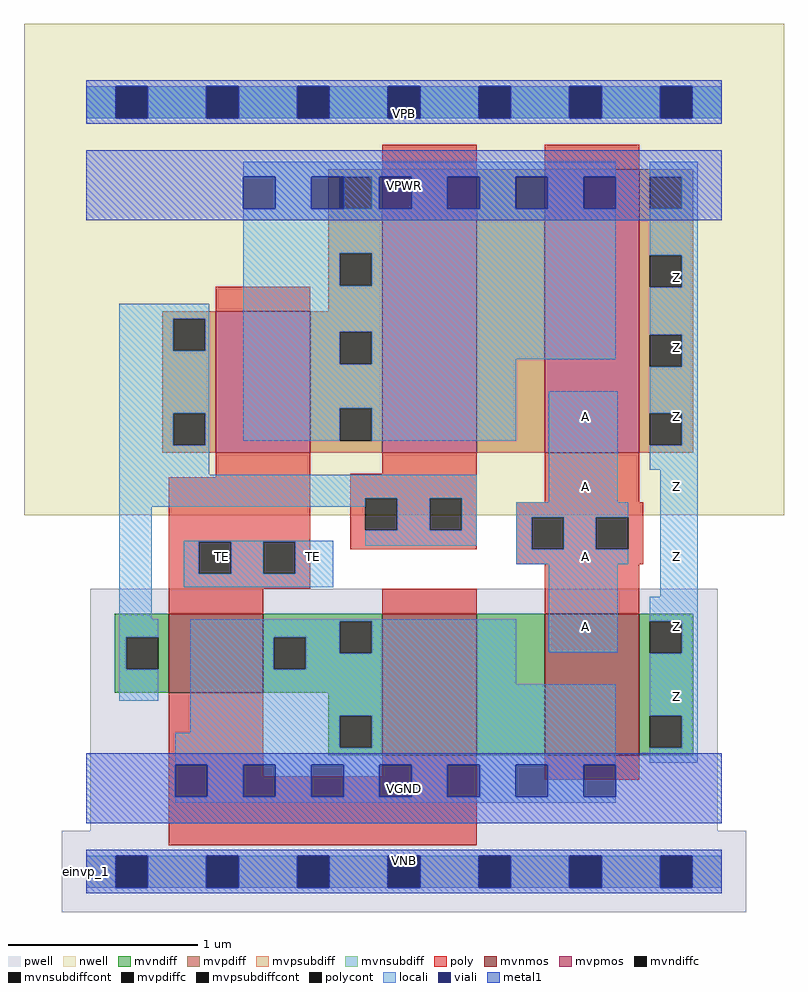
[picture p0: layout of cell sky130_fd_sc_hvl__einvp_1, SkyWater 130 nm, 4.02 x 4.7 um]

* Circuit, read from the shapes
.subckt sky130_fd_sc_hvl__einvp_1 A TE VGND VNB VPB VPWR Z
XM1 VGND TE n1 VNB sky130_fd_pr__nfet_g5v0d10v5 w=0.42 l=0.5
XM2 n2 TE VGND VNB sky130_fd_pr__nfet_g5v0d10v5 w=0.75 l=0.5
XM3 Z A n2 VNB sky130_fd_pr__nfet_g5v0d10v5 w=0.75 l=0.5
XM4 VPWR TE n1 VPB sky130_fd_pr__pfet_g5v0d10v5 w=0.75 l=0.5
XM5 n3 n1 VPWR VPB sky130_fd_pr__pfet_g5v0d10v5 w=1.5 l=0.5
XM6 Z A n3 VPB sky130_fd_pr__pfet_g5v0d10v5 w=1.5 l=0.5
.ends

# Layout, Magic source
magic
tech sky130A
magscale 1 2
<< nwell >>
rect -66 377 738 897
<< pwell >>
rect 4 43 668 299
rect -26 -43 698 43
<< mvnmos >>
rect 87 189 187 273
rect 313 123 413 273
rect 485 123 585 273
<< mvpmos >>
rect 137 443 237 593
rect 313 443 413 743
rect 485 443 585 743
<< mvndiff >>
rect 30 248 87 273
rect 30 214 42 248
rect 76 214 87 248
rect 30 189 87 214
rect 187 265 313 273
rect 187 248 268 265
rect 187 214 198 248
rect 232 231 268 248
rect 302 231 313 265
rect 232 214 313 231
rect 187 189 313 214
rect 256 165 313 189
rect 256 131 268 165
rect 302 131 313 165
rect 256 123 313 131
rect 413 123 485 273
rect 585 265 642 273
rect 585 231 596 265
rect 630 231 642 265
rect 585 165 642 231
rect 585 131 596 165
rect 630 131 642 165
rect 585 123 642 131
<< mvpdiff >>
rect 256 735 313 743
rect 256 701 268 735
rect 302 701 313 735
rect 256 654 313 701
rect 256 620 268 654
rect 302 620 313 654
rect 256 593 313 620
rect 80 585 137 593
rect 80 551 92 585
rect 126 551 137 585
rect 80 485 137 551
rect 80 451 92 485
rect 126 451 137 485
rect 80 443 137 451
rect 237 571 313 593
rect 237 537 268 571
rect 302 537 313 571
rect 237 490 313 537
rect 237 456 268 490
rect 302 456 313 490
rect 237 443 313 456
rect 413 443 485 743
rect 585 735 642 743
rect 585 701 596 735
rect 630 701 642 735
rect 585 652 642 701
rect 585 618 596 652
rect 630 618 642 652
rect 585 568 642 618
rect 585 534 596 568
rect 630 534 642 568
rect 585 485 642 534
rect 585 451 596 485
rect 630 451 642 485
rect 585 443 642 451
<< mvndiffc >>
rect 42 214 76 248
rect 198 214 232 248
rect 268 231 302 265
rect 268 131 302 165
rect 596 231 630 265
rect 596 131 630 165
<< mvpdiffc >>
rect 268 701 302 735
rect 268 620 302 654
rect 92 551 126 585
rect 92 451 126 485
rect 268 537 302 571
rect 268 456 302 490
rect 596 701 630 735
rect 596 618 630 652
rect 596 534 630 568
rect 596 451 630 485
<< mvpsubdiff >>
rect 0 -17 31 17
rect 65 -17 127 17
rect 161 -17 223 17
rect 257 -17 319 17
rect 353 -17 415 17
rect 449 -17 511 17
rect 545 -17 607 17
rect 641 -17 672 17
<< mvnsubdiff >>
rect 0 797 31 831
rect 65 797 127 831
rect 161 797 223 831
rect 257 797 319 831
rect 353 797 415 831
rect 449 797 511 831
rect 545 797 607 831
rect 641 797 672 831
<< mvpsubdiffcont >>
rect 31 -17 65 17
rect 127 -17 161 17
rect 223 -17 257 17
rect 319 -17 353 17
rect 415 -17 449 17
rect 511 -17 545 17
rect 607 -17 641 17
<< mvnsubdiffcont >>
rect 31 797 65 831
rect 127 797 161 831
rect 223 797 257 831
rect 319 797 353 831
rect 415 797 449 831
rect 511 797 545 831
rect 607 797 641 831
<< poly >>
rect 313 743 413 769
rect 485 743 585 769
rect 137 593 237 619
rect 137 417 237 443
rect 313 421 413 443
rect 87 349 237 417
rect 87 315 119 349
rect 153 315 187 349
rect 221 315 237 349
rect 279 395 413 421
rect 279 361 295 395
rect 329 361 363 395
rect 397 361 413 395
rect 485 391 585 443
rect 279 341 413 361
rect 455 375 589 391
rect 455 341 471 375
rect 505 341 539 375
rect 573 341 589 375
rect 455 325 589 341
rect 87 299 237 315
rect 87 273 187 299
rect 313 273 413 299
rect 485 273 585 325
rect 87 101 187 189
rect 313 101 413 123
rect 87 28 413 101
rect 485 97 585 123
<< polycont >>
rect 119 315 153 349
rect 187 315 221 349
rect 295 361 329 395
rect 363 361 397 395
rect 471 341 505 375
rect 539 341 573 375
<< locali >>
rect 0 797 31 831
rect 65 797 127 831
rect 161 797 223 831
rect 257 797 319 831
rect 353 797 415 831
rect 449 797 511 831
rect 545 797 607 831
rect 641 797 672 831
rect 166 735 560 751
rect 200 701 238 735
rect 302 701 310 735
rect 344 701 382 735
rect 416 701 454 735
rect 488 701 526 735
rect 166 654 560 701
rect 166 620 268 654
rect 302 620 560 654
rect 35 585 130 601
rect 35 551 92 585
rect 126 551 130 585
rect 35 485 130 551
rect 35 451 92 485
rect 126 451 130 485
rect 166 571 560 620
rect 166 537 268 571
rect 302 542 560 571
rect 596 735 647 751
rect 630 701 647 735
rect 596 652 647 701
rect 630 618 647 652
rect 596 568 647 618
rect 302 537 455 542
rect 166 490 455 537
rect 630 534 647 568
rect 166 456 268 490
rect 302 456 455 490
rect 35 420 130 451
rect 35 395 413 420
rect 35 386 295 395
rect 35 267 69 386
rect 329 361 363 395
rect 397 361 413 395
rect 489 391 562 508
rect 596 485 647 534
rect 630 451 647 485
rect 596 425 647 451
rect 103 349 261 350
rect 103 315 119 349
rect 153 315 187 349
rect 221 315 261 349
rect 295 345 413 361
rect 455 375 573 391
rect 455 341 471 375
rect 505 341 539 375
rect 455 325 573 341
rect 103 301 261 315
rect 35 248 76 267
rect 35 214 42 248
rect 35 181 76 214
rect 110 265 455 267
rect 110 248 268 265
rect 110 214 198 248
rect 232 231 268 248
rect 302 231 455 265
rect 489 232 562 325
rect 607 291 647 425
rect 596 265 647 291
rect 232 214 455 231
rect 110 198 455 214
rect 630 231 647 265
rect 110 165 560 198
rect 110 147 268 165
rect 94 131 268 147
rect 302 131 560 165
rect 94 113 560 131
rect 596 165 647 231
rect 630 131 647 165
rect 596 115 647 131
rect 128 79 166 113
rect 200 79 238 113
rect 272 79 310 113
rect 344 79 382 113
rect 416 79 454 113
rect 488 79 526 113
rect 94 73 560 79
rect 0 -17 31 17
rect 65 -17 127 17
rect 161 -17 223 17
rect 257 -17 319 17
rect 353 -17 415 17
rect 449 -17 511 17
rect 545 -17 607 17
rect 641 -17 672 17
<< viali >>
rect 31 797 65 831
rect 127 797 161 831
rect 223 797 257 831
rect 319 797 353 831
rect 415 797 449 831
rect 511 797 545 831
rect 607 797 641 831
rect 166 701 200 735
rect 238 701 268 735
rect 268 701 272 735
rect 310 701 344 735
rect 382 701 416 735
rect 454 701 488 735
rect 526 701 560 735
rect 94 79 128 113
rect 166 79 200 113
rect 238 79 272 113
rect 310 79 344 113
rect 382 79 416 113
rect 454 79 488 113
rect 526 79 560 113
rect 31 -17 65 17
rect 127 -17 161 17
rect 223 -17 257 17
rect 319 -17 353 17
rect 415 -17 449 17
rect 511 -17 545 17
rect 607 -17 641 17
<< metal1 >>
rect 0 831 672 837
rect 0 797 31 831
rect 65 797 127 831
rect 161 797 223 831
rect 257 797 319 831
rect 353 797 415 831
rect 449 797 511 831
rect 545 797 607 831
rect 641 797 672 831
rect 0 791 672 797
rect 0 735 672 763
rect 0 701 166 735
rect 200 701 238 735
rect 272 701 310 735
rect 344 701 382 735
rect 416 701 454 735
rect 488 701 526 735
rect 560 701 672 735
rect 0 689 672 701
rect 0 113 672 125
rect 0 79 94 113
rect 128 79 166 113
rect 200 79 238 113
rect 272 79 310 113
rect 344 79 382 113
rect 416 79 454 113
rect 488 79 526 113
rect 560 79 672 113
rect 0 51 672 79
rect 0 17 672 23
rect 0 -17 31 17
rect 65 -17 127 17
rect 161 -17 223 17
rect 257 -17 319 17
rect 353 -17 415 17
rect 449 -17 511 17
rect 545 -17 607 17
rect 641 -17 672 17
rect 0 -23 672 -17
<< labels >>
rlabel comment s 0 0 0 0 4 einvp_1
flabel metal1 s 0 51 672 125 0 FreeSans 340 0 0 0 VGND
port 3 nsew ground bidirectional
flabel metal1 s 0 0 672 23 0 FreeSans 340 0 0 0 VNB
port 4 nsew ground bidirectional
flabel metal1 s 0 689 672 763 0 FreeSans 340 0 0 0 VPWR
port 6 nsew power bidirectional
flabel metal1 s 0 791 672 814 0 FreeSans 340 0 0 0 VPB
port 5 nsew power bidirectional
flabel locali s 511 390 545 424 0 FreeSans 340 0 0 0 A
port 1 nsew signal input
flabel locali s 511 316 545 350 0 FreeSans 340 0 0 0 A
port 1 nsew signal input
flabel locali s 127 316 161 350 0 FreeSans 340 0 0 0 TE
port 2 nsew signal input
flabel locali s 223 316 257 350 0 FreeSans 340 0 0 0 TE
port 2 nsew signal input
flabel locali s 607 168 641 202 0 FreeSans 340 0 0 0 Z
port 7 nsew signal output
flabel locali s 607 242 641 276 0 FreeSans 340 0 0 0 Z
port 7 nsew signal output
flabel locali s 607 316 641 350 0 FreeSans 340 0 0 0 Z
port 7 nsew signal output
flabel locali s 607 390 641 424 0 FreeSans 340 0 0 0 Z
port 7 nsew signal output
flabel locali s 607 464 641 498 0 FreeSans 340 0 0 0 Z
port 7 nsew signal output
flabel locali s 607 538 641 572 0 FreeSans 340 0 0 0 Z
port 7 nsew signal output
flabel locali s 607 612 641 646 0 FreeSans 340 0 0 0 Z
port 7 nsew signal output
flabel locali s 511 242 545 276 0 FreeSans 340 0 0 0 A
port 1 nsew signal input
flabel locali s 511 464 545 498 0 FreeSans 340 0 0 0 A
port 1 nsew signal input
<< properties >>
string FIXED_BBOX 0 0 672 814
string GDS_END 1239596
string GDS_FILE $PDKPATH/libs.ref/sky130_fd_sc_hvl/gds/sky130_fd_sc_hvl.gds
string GDS_START 1230040
string LEFclass CORE
string LEFsite unithv
string LEFsymmetry X Y
<< end >>
